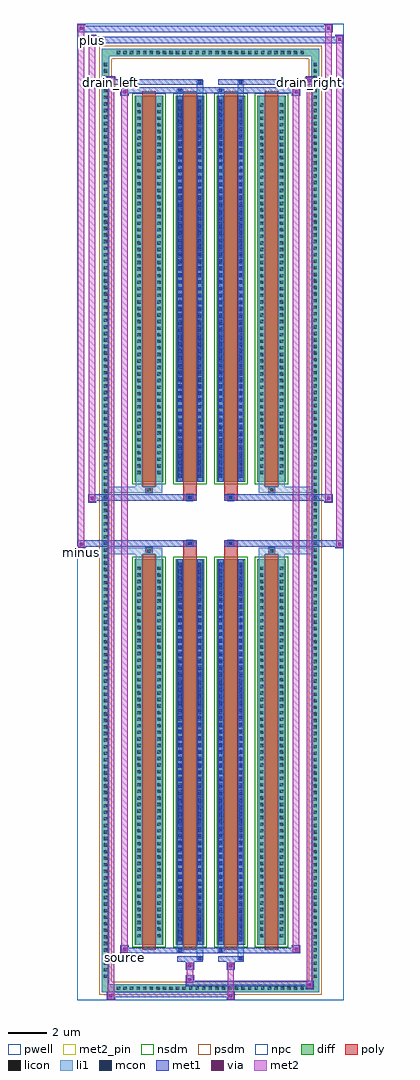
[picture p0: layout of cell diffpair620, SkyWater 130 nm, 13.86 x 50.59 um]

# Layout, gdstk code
import gdstk
lib = gdstk.Library(unit=1e-6, precision=5e-09)
def R(c, l, rs):  # rectangles x0, y0, x1, y1
    for r in rs: c.add(gdstk.rectangle(r[:2], r[2:], *l))
def A(c, l, x, y, w, h, nx, ny, dx, dy):  # array of equal rectangles
    R(c, l, [(x+i*dx, y+j*dy, x+i*dx+w, y+j*dy+h) for i in range(nx) for j in range(ny)])
def P(c, l, *ps):  # polygons
    for p in ps: c.add(gdstk.Polygon(p, *l))
pwell = (64, 44)
diff = (65, 20)
poly = (66, 20)
licon = (66, 44)
li1 = (67, 20)
mcon = (67, 44)
met1 = (68, 20)
via = (68, 44)
met2_pin = (69, 16)
met2 = (69, 20)
nsdm = (93, 44)
psdm = (94, 20)
npc = (95, 20)

diffpair620 = lib.new_cell('diffpair620')
R(diffpair620, pwell, [(-6.91,-24.86,6.91,25.73), (-4.23,-23.05,-0.01,-0.825), (0.01,-23.05,4.23,-0.825), (-4.23,0.825,-0.01,23.05), (0.01,0.825,4.23,23.05)])
A(diffpair620, diff, -4.965, -24.46, 0.41, 0.41, 29, 2, 0.34, 48.51)
A(diffpair620, diff, -5.64, -23.835, 0.41, 0.41, 1, 140, 0, 0.34)
A(diffpair620, diff, 5.23, -23.835, 0.41, 0.41, 1, 140, 0, 0.34)
A(diffpair620, diff, -3.92, -22.005, 1.48, 20, 4, 2, 2.12, 24.01)
R(diffpair620, diff, [(-4.965,-24.46,4.965,-24.05), (-5.64,-23.835,-5.23,23.835), (5.23,-23.835,5.64,23.835), (-4.965,24.05,4.965,24.46)])
P(diffpair620, diff, [(5.64,24.46),(-5.64,24.46),(-5.64,-24.05),(-5.23,-24.05),(-5.23,24.05),(5.23,24.05),(5.23,-24.05),(-5.23,-24.05),(-5.64,-24.05),(-5.64,-24.46),(5.64,-24.46)])
A(diffpair620, poly, -3.53, -22.255, 0.7, 20.5, 4, 2, 2.12, 24.01)
R(diffpair620, poly, [(-3.345,-1.755,-3.015,-1.425), (-3.345,-1.755,-3.015,-1.425), (-1.41,-1.755,-0.71,-1.355), (0.71,-1.755,1.41,-1.355), (3.015,-1.755,3.345,-1.425), (3.015,-1.755,3.345,-1.425), (-1.41,-1.355,-0.71,-1.025), (-1.225,-1.355,-0.895,-1.025), (0.71,-1.355,1.41,-1.025), (0.895,-1.355,1.225,-1.025), (-1.41,1.025,-0.71,1.355), (-1.225,1.025,-0.895,1.355), (0.71,1.025,1.41,1.355), (0.895,1.025,1.225,1.355), (-1.41,1.355,-0.71,1.755), (0.71,1.355,1.41,1.755), (-3.345,1.425,-3.015,1.755), (-3.345,1.425,-3.015,1.755), (3.015,1.425,3.345,1.755), (3.015,1.425,3.345,1.755)])
A(diffpair620, licon, -4.845, -24.34, 0.17, 0.17, 29, 2, 0.34, 48.51)
A(diffpair620, licon, -5.52, -23.715, 0.17, 0.17, 1, 140, 0, 0.34)
A(diffpair620, licon, 5.35, -23.715, 0.17, 0.17, 1, 140, 0, 0.34)
A(diffpair620, licon, -3.78, -21.61, 0.17, 0.17, 1, 57, 0, 0.34)
A(diffpair620, licon, -2.75, -21.61, 0.17, 0.17, 1, 57, 0, 0.34)
A(diffpair620, licon, -1.66, -21.61, 0.17, 0.17, 1, 57, 0, 0.34)
A(diffpair620, licon, -0.63, -21.61, 0.17, 0.17, 1, 57, 0, 0.34)
A(diffpair620, licon, 0.46, -21.61, 0.17, 0.17, 1, 57, 0, 0.34)
A(diffpair620, licon, 1.49, -21.61, 0.17, 0.17, 1, 57, 0, 0.34)
A(diffpair620, licon, 2.58, -21.61, 0.17, 0.17, 1, 57, 0, 0.34)
A(diffpair620, licon, 3.61, -21.61, 0.17, 0.17, 1, 57, 0, 0.34)
A(diffpair620, licon, -3.78, 2.4, 0.17, 0.17, 1, 57, 0, 0.34)
A(diffpair620, licon, -2.75, 2.4, 0.17, 0.17, 1, 57, 0, 0.34)
A(diffpair620, licon, -1.66, 2.4, 0.17, 0.17, 1, 57, 0, 0.34)
A(diffpair620, licon, -0.63, 2.4, 0.17, 0.17, 1, 57, 0, 0.34)
A(diffpair620, licon, 0.46, 2.4, 0.17, 0.17, 1, 57, 0, 0.34)
A(diffpair620, licon, 1.49, 2.4, 0.17, 0.17, 1, 57, 0, 0.34)
A(diffpair620, licon, 2.58, 2.4, 0.17, 0.17, 1, 57, 0, 0.34)
A(diffpair620, licon, 3.61, 2.4, 0.17, 0.17, 1, 57, 0, 0.34)
R(diffpair620, licon, [(-3.265,-1.675,-3.095,-1.505), (3.095,-1.675,3.265,-1.505), (-1.145,-1.275,-0.975,-1.105), (0.975,-1.275,1.145,-1.105), (-1.145,1.105,-0.975,1.275), (0.975,1.105,1.145,1.275), (-3.265,1.505,-3.095,1.675), (3.095,1.505,3.265,1.675)])
A(diffpair620, li1, -4.925, -24.42, 0.33, 0.33, 29, 2, 0.34, 48.51)
A(diffpair620, li1, -5.6, -23.795, 0.33, 0.33, 1, 140, 0, 0.34)
A(diffpair620, li1, 5.27, -23.795, 0.33, 0.33, 1, 140, 0, 0.34)
A(diffpair620, li1, -1.66, -21.81, 0.17, 0.17, 1, 55, 0, 0.36)
A(diffpair620, li1, -0.63, -21.81, 0.17, 0.17, 1, 55, 0, 0.36)
A(diffpair620, li1, 0.46, -21.81, 0.17, 0.17, 1, 55, 0, 0.36)
A(diffpair620, li1, 1.49, -21.81, 0.17, 0.17, 1, 55, 0, 0.36)
A(diffpair620, li1, -3.86, -21.69, 0.33, 0.33, 1, 57, 0, 0.34)
A(diffpair620, li1, -2.83, -21.69, 0.33, 0.33, 1, 57, 0, 0.34)
A(diffpair620, li1, -1.74, -21.69, 0.33, 0.33, 1, 57, 0, 0.34)
A(diffpair620, li1, -0.71, -21.69, 0.33, 0.33, 1, 57, 0, 0.34)
A(diffpair620, li1, 0.38, -21.69, 0.33, 0.33, 1, 57, 0, 0.34)
A(diffpair620, li1, 1.41, -21.69, 0.33, 0.33, 1, 57, 0, 0.34)
A(diffpair620, li1, 2.5, -21.69, 0.33, 0.33, 1, 57, 0, 0.34)
A(diffpair620, li1, 3.53, -21.69, 0.33, 0.33, 1, 57, 0, 0.34)
A(diffpair620, li1, -1.66, 2.2, 0.17, 0.17, 1, 55, 0, 0.36)
A(diffpair620, li1, -0.63, 2.2, 0.17, 0.17, 1, 55, 0, 0.36)
A(diffpair620, li1, 0.46, 2.2, 0.17, 0.17, 1, 55, 0, 0.36)
A(diffpair620, li1, 1.49, 2.2, 0.17, 0.17, 1, 55, 0, 0.36)
A(diffpair620, li1, -3.86, 2.32, 0.33, 0.33, 1, 57, 0, 0.34)
A(diffpair620, li1, -2.83, 2.32, 0.33, 0.33, 1, 57, 0, 0.34)
A(diffpair620, li1, -1.74, 2.32, 0.33, 0.33, 1, 57, 0, 0.34)
A(diffpair620, li1, -0.71, 2.32, 0.33, 0.33, 1, 57, 0, 0.34)
A(diffpair620, li1, 0.38, 2.32, 0.33, 0.33, 1, 57, 0, 0.34)
A(diffpair620, li1, 1.41, 2.32, 0.33, 0.33, 1, 57, 0, 0.34)
A(diffpair620, li1, 2.5, 2.32, 0.33, 0.33, 1, 57, 0, 0.34)
A(diffpair620, li1, 3.53, 2.32, 0.33, 0.33, 1, 57, 0, 0.34)
R(diffpair620, li1, [(-5.64,-24.46,-5.23,-24.05), (-5.64,-24.46,-5.23,-24.05), (-5.23,-24.46,5.23,-24.05), (5.23,-24.46,5.64,-24.05), (5.23,-24.46,5.64,-24.05), (-5.64,-24.05,-5.23,24.05), (5.23,-24.05,5.64,24.05), (-0.71,-22.81,-0.38,-22.005), (-0.63,-22.81,-0.46,-22.64), (1.41,-22.81,1.74,-22.005), (1.49,-22.81,1.66,-22.64), (-1.74,-22.38,-1.41,-22.005), (-1.66,-22.38,-1.49,-22.21), (0.38,-22.38,0.71,-22.005), (0.46,-22.38,0.63,-22.21), (-3.86,-22.005,-3.53,-2.005), (-2.83,-22.005,-2.5,-2.005), (-1.74,-22.005,-1.41,-2.005), (-0.71,-22.005,-0.38,-2.005), (0.38,-22.005,0.71,-2.005), (1.41,-22.005,1.74,-2.005), (2.5,-22.005,2.83,-2.005), (3.53,-22.005,3.86,-2.005), (-1.66,-21.81,-1.49,-2.2), (-0.63,-21.81,-0.46,-2.2), (0.46,-21.81,0.63,-2.2), (1.49,-21.81,1.66,-2.2), (-3.86,-2.005,-3.53,-1.425), (-2.83,-2.005,-2.5,-1.425), (2.5,-2.005,2.83,-1.425), (3.53,-2.005,3.86,-1.425), (-5.64,-1.755,-3.345,-1.425), (-3.86,-1.755,-3.345,-1.425), (-3.345,-1.755,-3.015,-1.425), (-3.015,-1.755,-2.5,-1.425), (2.5,-1.755,3.015,-1.425), (3.015,-1.755,3.345,-1.425), (3.015,-1.755,5.64,-1.425), (3.345,-1.755,3.86,-1.425), (-1.225,-1.355,-0.895,-1.025), (0.895,-1.355,1.225,-1.025), (-1.225,1.025,-0.895,1.355), (0.895,1.025,1.225,1.355), (-5.64,1.425,-3.345,1.755), (-3.86,1.425,-3.345,1.755), (-3.86,1.425,-3.53,2.005), (-3.345,1.425,-3.015,1.755), (-3.015,1.425,-2.5,1.755), (-2.83,1.425,-2.5,2.005), (2.5,1.425,3.015,1.755), (2.5,1.425,2.83,2.005), (3.015,1.425,3.345,1.755), (3.015,1.425,5.64,1.755), (3.345,1.425,3.86,1.755), (3.53,1.425,3.86,2.005), (-3.86,2.005,-3.53,22.005), (-2.83,2.005,-2.5,22.005), (-1.74,2.005,-1.41,22.005), (-0.71,2.005,-0.38,22.005), (0.38,2.005,0.71,22.005), (1.41,2.005,1.74,22.005), (2.5,2.005,2.83,22.005), (3.53,2.005,3.86,22.005), (-1.66,2.2,-1.49,21.81), (-0.63,2.2,-0.46,21.81), (0.46,2.2,0.63,21.81), (1.49,2.2,1.66,21.81), (-1.74,22.005,-1.41,22.38), (-0.71,22.005,-0.38,22.81), (0.38,22.005,0.71,22.38), (1.41,22.005,1.74,22.81), (-1.66,22.21,-1.49,22.38), (0.46,22.21,0.63,22.38), (-0.63,22.64,-0.46,22.81), (1.49,22.64,1.66,22.81), (-5.64,24.05,-5.23,24.46), (-5.64,24.05,-5.23,24.46), (-5.23,24.05,5.23,24.46), (5.23,24.05,5.64,24.46), (5.23,24.05,5.64,24.46)])
A(diffpair620, mcon, -1.66, -21.81, 0.17, 0.17, 1, 55, 0, 0.36)
A(diffpair620, mcon, -0.63, -21.81, 0.17, 0.17, 1, 55, 0, 0.36)
A(diffpair620, mcon, 0.46, -21.81, 0.17, 0.17, 1, 55, 0, 0.36)
A(diffpair620, mcon, 1.49, -21.81, 0.17, 0.17, 1, 55, 0, 0.36)
A(diffpair620, mcon, -1.66, 2.2, 0.17, 0.17, 1, 55, 0, 0.36)
A(diffpair620, mcon, -0.63, 2.2, 0.17, 0.17, 1, 55, 0, 0.36)
A(diffpair620, mcon, 0.46, 2.2, 0.17, 0.17, 1, 55, 0, 0.36)
A(diffpair620, mcon, 1.49, 2.2, 0.17, 0.17, 1, 55, 0, 0.36)
R(diffpair620, mcon, [(-0.63,-22.81,-0.46,-22.64), (1.49,-22.81,1.66,-22.64), (-1.66,-22.38,-1.49,-22.21), (0.46,-22.38,0.63,-22.21), (-1.145,-1.275,-0.975,-1.105), (0.975,-1.275,1.145,-1.105), (-1.145,1.105,-0.975,1.275), (0.975,1.105,1.145,1.275), (-1.66,22.21,-1.49,22.38), (0.46,22.21,0.63,22.38), (-0.63,22.64,-0.46,22.81), (1.49,22.64,1.66,22.81)])
A(diffpair620, met1, -1.72, -21.87, 0.29, 0.29, 1, 55, 0, 0.36)
A(diffpair620, met1, -0.69, -21.87, 0.29, 0.29, 1, 55, 0, 0.36)
A(diffpair620, met1, 0.4, -21.87, 0.29, 0.29, 1, 55, 0, 0.36)
A(diffpair620, met1, 1.43, -21.87, 0.29, 0.29, 1, 55, 0, 0.36)
A(diffpair620, met1, -1.72, 2.14, 0.29, 0.29, 1, 55, 0, 0.36)
A(diffpair620, met1, -0.69, 2.14, 0.29, 0.29, 1, 55, 0, 0.36)
A(diffpair620, met1, 0.4, 2.14, 0.29, 0.29, 1, 55, 0, 0.36)
A(diffpair620, met1, 1.43, 2.14, 0.29, 0.29, 1, 55, 0, 0.36)
R(diffpair620, met1, [(-5.37,-24.86,-4.94,-24.43), (0.845,-24.86,1.275,-24.43), (-5.37,-24.72,1.275,-24.43), (4.94,-24.29,5.37,-23.86), (-1.275,-24.15,5.37,-23.86), (-1.275,-24.01,-0.845,-23.58), (-1.275,-23.3,-0.845,-22.87), (0.845,-23.3,1.275,-22.87), (-1.72,-22.87,-0.4,-22.58), (-0.69,-22.87,-0.4,-22.58), (0.4,-22.87,1.72,-22.58), (1.43,-22.87,1.72,-22.58), (-4.66,-22.44,-4.23,-22.01), (-4.66,-22.44,-1.72,-22.15), (-1.72,-22.44,-1.43,-22.15), (-1.72,-22.44,-0.4,-22.15), (-0.4,-22.44,0.4,-22.15), (0.4,-22.44,0.69,-22.15), (0.4,-22.44,1.72,-22.15), (1.72,-22.44,4.66,-22.15), (4.23,-22.44,4.66,-22.01), (-1.72,-22.005,-1.43,-2.005), (-0.69,-22.005,-0.4,-2.005), (0.4,-22.005,0.69,-2.005), (1.43,-22.005,1.72,-2.005), (-6.91,-1.455,-6.48,-1.025), (6.48,-1.455,6.91,-1.025), (-6.91,-1.355,-0.71,-1.025), (-1.41,-1.355,-0.71,-1.025), (0.71,-1.355,1.41,-1.025), (0.71,-1.355,6.91,-1.025), (-1.205,-1.335,-0.915,-1.045), (0.915,-1.335,1.205,-1.045), (-6.34,0.925,-5.91,1.355), (5.91,0.925,6.34,1.355), (-6.34,1.025,-1.41,1.355), (-1.41,1.025,-0.71,1.355), (0.71,1.025,1.41,1.355), (1.41,1.025,6.34,1.355), (-1.205,1.045,-0.915,1.335), (0.915,1.045,1.205,1.335), (-1.72,2.005,-1.43,22.005), (-0.69,2.005,-0.4,22.005), (0.4,2.005,0.69,22.005), (1.43,2.005,1.72,22.005), (-4.66,22.01,-4.23,22.44), (4.23,22.01,4.66,22.44), (-4.66,22.15,-1.72,22.44), (-1.72,22.15,-1.43,22.44), (-1.72,22.15,-0.4,22.44), (-0.4,22.15,0.4,22.44), (0.4,22.15,0.69,22.44), (0.4,22.15,1.72,22.44), (1.72,22.15,4.66,22.44), (-5.37,22.58,-4.94,23.01), (-5.37,22.58,-1.72,22.87), (-1.72,22.58,-0.4,22.87), (-0.69,22.58,-0.4,22.87), (0.4,22.58,1.72,22.87), (1.43,22.58,1.72,22.87), (1.72,22.58,5.37,22.87), (4.94,22.58,5.37,23.01), (-6.34,24.73,-5.91,25.16), (-6.34,24.73,-4.23,25.06), (-4.23,24.73,4.23,25.06), (4.23,24.73,6.91,25.06), (6.48,24.73,6.91,25.16), (-6.91,25.3,-6.48,25.73), (-6.91,25.3,-4.23,25.63), (-4.23,25.3,4.23,25.63), (4.23,25.3,6.34,25.63), (5.91,25.3,6.34,25.73)])
R(diffpair620, via, [(-5.23,-24.72,-5.08,-24.57), (0.985,-24.72,1.135,-24.57), (5.08,-24.15,5.23,-24), (-1.135,-23.87,-0.985,-23.72), (-1.135,-23.16,-0.985,-23.01), (0.985,-23.16,1.135,-23.01), (-4.52,-22.3,-4.37,-22.15), (4.37,-22.3,4.52,-22.15), (-6.77,-1.315,-6.62,-1.165), (6.62,-1.315,6.77,-1.165), (-6.2,1.065,-6.05,1.215), (6.05,1.065,6.2,1.215), (-4.52,22.15,-4.37,22.3), (4.37,22.15,4.52,22.3), (-5.23,22.72,-5.08,22.87), (5.08,22.72,5.23,22.87), (-6.2,24.87,-6.05,25.02), (6.62,24.87,6.77,25.02), (-6.77,25.44,-6.62,25.59), (6.05,25.44,6.2,25.59)])
R(diffpair620, met2_pin, [(-4.695,-22.89,-4.195,-22.39), (-6.945,-1.905,-6.445,-1.405), (-5.405,22.46,-4.905,22.96), (4.905,22.46,5.405,22.96), (-6.375,24.61,-5.875,25.11)])
R(diffpair620, met2, [(-5.32,-24.81,-4.99,-24.48), (-5.32,-24.81,-4.99,22.96), (0.895,-24.81,1.225,-24.48), (0.895,-24.48,1.225,-23.25), (4.99,-24.24,5.32,-23.91), (4.99,-24.24,5.32,22.96), (-1.225,-23.96,-0.895,-23.63), (-1.225,-23.63,-0.895,-23.25), (-1.225,-23.25,-0.895,-22.92), (0.895,-23.25,1.225,-22.92), (-4.61,-22.39,-4.28,-22.06), (-4.61,-22.39,-4.28,22.39), (4.28,-22.39,4.61,-22.06), (4.28,-22.39,4.61,22.39), (-6.86,-1.405,-6.53,-1.075), (-6.86,-1.405,-6.53,25.68), (6.53,-1.405,6.86,-1.075), (6.53,-1.405,6.86,25.11), (-6.29,0.975,-5.96,1.305), (-6.29,0.975,-5.96,25.11), (5.96,0.975,6.29,1.305), (5.96,0.975,6.29,25.68), (-4.61,22.06,-4.28,22.39), (4.28,22.06,4.61,22.39), (-5.32,22.63,-4.99,22.96), (4.99,22.63,5.32,22.96), (-6.29,24.78,-5.96,25.11), (6.53,24.78,6.86,25.11), (-6.86,25.35,-6.53,25.68), (5.96,25.35,6.29,25.68)])
P(diffpair620, met2, [(6.86,-1.405),(6.86,-1.405),(6.86,-1.075),(6.86,-1.075)],
  [(6.86,24.78),(6.86,24.78),(6.86,25.11),(6.86,25.11)],
  [(-6.53,-1.405),(-6.53,-1.405),(-6.53,-1.075),(-6.53,-1.075)],
  [(-6.53,25.35),(-6.53,25.35),(-6.53,25.68),(-6.53,25.68)],
  [(6.29,0.975),(6.29,0.975),(6.29,1.305),(6.29,1.305)],
  [(6.29,25.35),(6.29,25.35),(6.29,25.68),(6.29,25.68)],
  [(-5.96,0.975),(-5.96,0.975),(-5.96,1.305),(-5.96,1.305)],
  [(-5.96,24.78),(-5.96,24.78),(-5.96,25.11),(-5.96,25.11)],
  [(-4.99,-24.81),(-4.99,-24.81),(-4.99,-24.48),(-4.99,-24.48)],
  [(-4.99,22.63),(-4.99,22.63),(-4.99,22.96),(-4.99,22.96)],
  [(5.32,-24.24),(5.32,-24.24),(5.32,-23.91),(5.32,-23.91)],
  [(5.32,22.63),(5.32,22.63),(5.32,22.96),(5.32,22.96)],
  [(-4.28,-22.39),(-4.28,-22.39),(-4.28,-22.06),(-4.28,-22.06)],
  [(-4.28,22.06),(-4.28,22.06),(-4.28,22.39),(-4.28,22.39)],
  [(4.61,-22.39),(4.61,-22.39),(4.61,-22.06),(4.61,-22.06)],
  [(4.61,22.06),(4.61,22.06),(4.61,22.39),(4.61,22.39)])
A(diffpair620, nsdm, -4.05, -22.135, 1.74, 20.26, 4, 2, 2.12, 24.01)
P(diffpair620, psdm, [(5.77,24.59),(-5.77,24.59),(-5.77,-23.92),(-5.1,-23.92),(-5.1,23.92),(5.1,23.92),(5.1,-23.92),(-5.1,-23.92),(-5.77,-23.92),(-5.77,-24.59),(5.77,-24.59)])
R(diffpair620, npc, [(-3.365,-1.775,-2.995,-1.405), (2.995,-1.775,3.365,-1.405), (-1.245,-1.375,-0.875,-1.005), (0.875,-1.375,1.245,-1.005), (-1.245,1.005,-0.875,1.375), (0.875,1.005,1.245,1.375), (-3.365,1.405,-2.995,1.775), (2.995,1.405,3.365,1.775)])
diffpair620.add(gdstk.Label('minus', (-6.695,-1.655), layer=69, texttype=5))
diffpair620.add(gdstk.Label('drain_right', (5.155,22.71), layer=69, texttype=5))
diffpair620.add(gdstk.Label('drain_left', (-5.155,22.71), layer=69, texttype=5))
diffpair620.add(gdstk.Label('source', (-4.445,-22.64), layer=69, texttype=5))
diffpair620.add(gdstk.Label('plus', (-6.125,24.86), layer=69, texttype=5))

lib.write_gds('diffpair620.gds')
